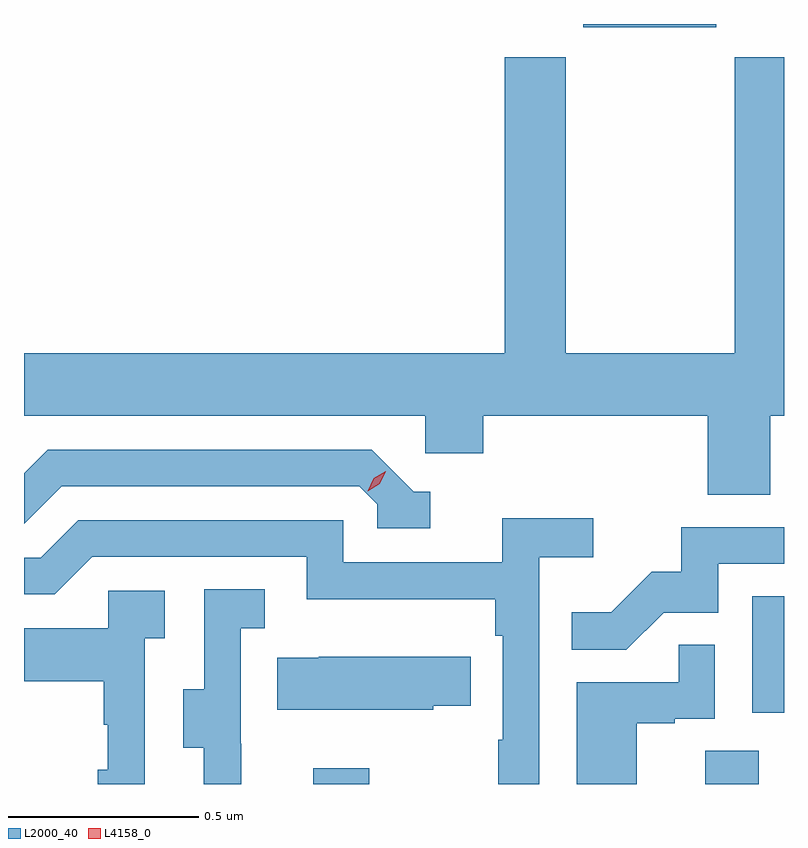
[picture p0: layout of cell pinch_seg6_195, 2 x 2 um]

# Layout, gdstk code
import gdstk
lib = gdstk.Library(unit=1e-6, precision=1e-09)
def R(c, l, rs):  # rectangles x0, y0, x1, y1
    for r in rs: c.add(gdstk.rectangle(r[:2], r[2:], *l))
def P(c, l, *ps):  # polygons
    for p in ps: c.add(gdstk.Polygon(p, *l))
L2000_40 = (2000, 40)
L4158_0 = (4158, 0)

pinch_seg6_195 = lib.new_cell('pinch_seg6_195')
R(pinch_seg6_195, L2000_40, [(1025.789,934.379,1025.937,934.42), (1026.821,934.379,1026.961,934.466), (1026.944,934.566,1027.028,934.873), (1026.5,936.371,1026.85,936.379)])
P(pinch_seg6_195, L2000_40, [(1026.992,935.348),(1027.028,935.348),(1027.028,936.292),(1026.898,936.292),(1026.898,935.512),(1026.453,935.512),(1026.453,936.292),(1026.293,936.292),(1026.293,935.512),(1025.028,935.512),(1025.028,935.348),(1026.084,935.348),(1026.084,935.25),(1026.236,935.25),(1026.236,935.348),(1026.827,935.348),(1026.827,935.14),(1026.992,935.14)],
  [(1026.097,935.148),(1026.054,935.148),(1025.943,935.259),(1025.09,935.259),(1025.028,935.197),(1025.028,935.064),(1025.127,935.163),(1025.91,935.163),(1025.958,935.115),(1025.958,935.052),(1026.097,935.052)],
  [(1026.384,934.976),(1026.526,934.976),(1026.526,935.078),(1026.287,935.078),(1026.287,934.962),(1025.868,934.962),(1025.868,935.073),(1025.171,935.073),(1025.072,934.974),(1025.028,934.974),(1025.028,934.878),(1025.109,934.878),(1025.208,934.977),(1025.772,934.977),(1025.772,934.865),(1026.268,934.865),(1026.268,934.769),(1026.288,934.769),(1026.288,934.496),(1026.276,934.496),(1026.276,934.379),(1026.384,934.379)],
  [(1026.711,934.83),(1026.855,934.83),(1026.855,934.959),(1027.028,934.959),(1027.028,935.055),(1026.757,935.055),(1026.757,934.938),(1026.68,934.938),(1026.573,934.831),(1026.469,934.831),(1026.469,934.732),(1026.613,934.732)],
  [(1025.6,934.485),(1025.598,934.485),(1025.598,934.789),(1025.662,934.789),(1025.662,934.892),(1025.502,934.892),(1025.502,934.629),(1025.447,934.629),(1025.447,934.474),(1025.501,934.474),(1025.501,934.379),(1025.6,934.379)],
  [(1025.346,934.763),(1025.398,934.763),(1025.398,934.887),(1025.25,934.887),(1025.25,934.789),(1025.028,934.789),(1025.028,934.649),(1025.238,934.649),(1025.238,934.535),(1025.248,934.535),(1025.248,934.416),(1025.222,934.416),(1025.222,934.379),(1025.346,934.379)],
  [(1026.64,934.539),(1026.74,934.539),(1026.74,934.551),(1026.846,934.551),(1026.846,934.745),(1026.751,934.745),(1026.751,934.647),(1026.482,934.647),(1026.482,934.379),(1026.64,934.379)],
  [(1026.105,934.585),(1026.203,934.585),(1026.203,934.714),(1025.803,934.714),(1025.803,934.711),(1025.695,934.711),(1025.695,934.574),(1026.105,934.574)])
P(pinch_seg6_195, L4158_0, [(1025.933,935.15),(1025.933,935.15),(1025.949,935.183),(1025.98,935.202),(1025.98,935.202),(1025.98,935.202),(1025.964,935.169),(1025.933,935.15)])

lib.write_gds('pinch_seg6_195.gds')
